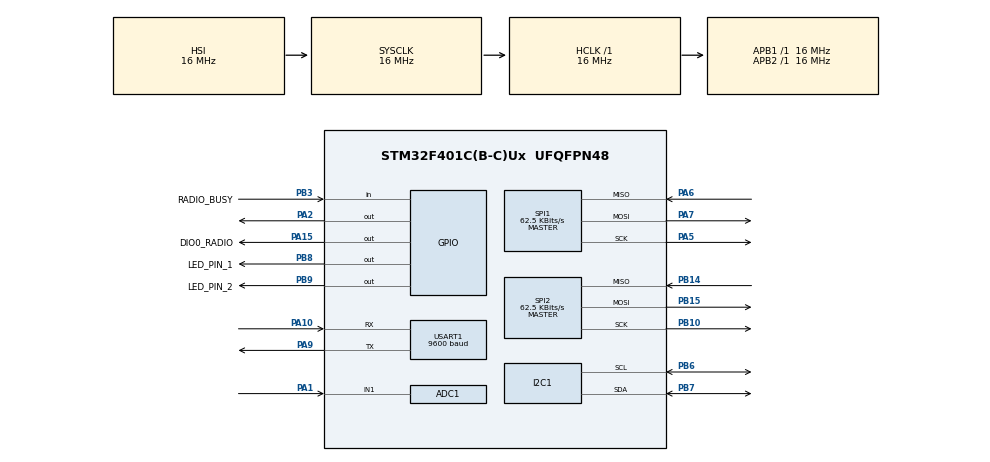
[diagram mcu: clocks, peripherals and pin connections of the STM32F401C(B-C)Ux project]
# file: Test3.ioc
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ADC1.Channel-0\#ChannelRegularConversion=ADC_CHANNEL_1
ADC1.NbrOfConversionFlag=1
ADC1.Rank-0\#ChannelRegularConversion=1
ADC1.SamplingTime-0\#ChannelRegularConversion=ADC_SAMPLETIME_3CYCLES
ADC1.master=1
Mcu.Family=STM32F4
Mcu.Name=STM32F401C(B-C)Ux
Mcu.Package=UFQFPN48
NVIC.PriorityGroup=NVIC_PRIORITYGROUP_4
PA1.Signal=ADCx_IN1
PA10.Mode=Asynchronous
PA10.Signal=USART1_RX
PA15.GPIO_Label=DIO0_RADIO
PA15.Signal=GPIO_Output
PA2.GPIO_ModeDefaultOutputPP=GPIO_MODE_OUTPUT_OD
PA2.GPIO_PuPd=GPIO_NOPULL
PA2.PinState=GPIO_PIN_SET
PA2.Signal=GPIO_Output
PA5.Mode=Full_Duplex_Master
PA5.Signal=SPI1_SCK
PA6.Mode=Full_Duplex_Master
PA6.Signal=SPI1_MISO
PA7.Mode=Full_Duplex_Master
PA7.Signal=SPI1_MOSI
PA9.Mode=Asynchronous
PA9.Signal=USART1_TX
PB10.Mode=Full_Duplex_Master
PB10.Signal=SPI2_SCK
PB14.Mode=Full_Duplex_Master
PB14.Signal=SPI2_MISO
PB15.Mode=Full_Duplex_Master
PB15.Signal=SPI2_MOSI
PB3.GPIO_Label=RADIO_BUSY
PB3.Signal=GPIO_Input
PB6.Mode=I2C
PB6.Signal=I2C1_SCL
PB7.Mode=I2C
PB7.Signal=I2C1_SDA
PB8.GPIO_Label=LED_PIN_1
PB8.Signal=GPIO_Output
PB9.GPIO_Label=LED_PIN_2
PB9.Signal=GPIO_Output
PH0\ -\ OSC_IN.Mode=HSE-External-Oscillator
PH0\ -\ OSC_IN.Signal=RCC_OSC_IN
PH1\ -\ OSC_OUT.Mode=HSE-External-Oscillator
PH1\ -\ OSC_OUT.Signal=RCC_OSC_OUT
ProjectManager.HeapSize=0x400
ProjectManager.StackSize=0x800
ProjectManager.TargetToolchain=STM32CubeIDE
RCC.AHBFreq_Value=16000000
RCC.APB1Freq_Value=16000000
RCC.APB2Freq_Value=16000000
RCC.CortexFreq_Value=16000000
RCC.HSE_VALUE=25000000
RCC.HSI_VALUE=16000000
RCC.LSE_VALUE=32768
RCC.SYSCLKFreq_VALUE=16000000
RCC.VCOOutputFreq_Value=192000000
SH.ADCx_IN1.0=ADC1_IN1,IN1
SPI1.BaudRatePrescaler=SPI_BAUDRATEPRESCALER_256
SPI1.CalculateBaudRate=62.5 KBits/s
SPI1.Direction=SPI_DIRECTION_2LINES
SPI1.Mode=SPI_MODE_MASTER
SPI1.VirtualType=VM_MASTER
SPI2.BaudRatePrescaler=SPI_BAUDRATEPRESCALER_256
SPI2.CalculateBaudRate=62.5 KBits/s
SPI2.Direction=SPI_DIRECTION_2LINES
SPI2.Mode=SPI_MODE_MASTER
SPI2.VirtualType=VM_MASTER
USART1.BaudRate=9600
USART1.VirtualMode=VM_ASYNC
board=custom

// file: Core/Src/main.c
/* USER CODE BEGIN Header */
/**
  ******************************************************************************
  * @file           : main.c
  * @brief          : Main program body
  ******************************************************************************
  * @attention
  *
  * Copyright (c) 2026 STMicroelectronics.
  * All rights reserved.
  *
  * This software is licensed under terms that can be found in the LICENSE file
  * in the root directory of this software component.
  * If no LICENSE file comes with this software, it is provided AS-IS.
  *
  ******************************************************************************
  */
/* USER CODE END Header */
#include "main.h"
#include "adc.h"
#include "i2c.h"
#include "spi.h"
#include "usart.h"
#include "gpio.h"

/* USER CODE BEGIN Includes */
#include "serial_print.h"
#include "mcp23017.h"
#include "bmi088.h"
#include "lis3mdl.h"
#include "bmp388.h"
#include "lora278.h"
#include "dwt_delay.h"
#include "ds18b20.h"
#include <stdio.h>
#include <stdlib.h>
#include <string.h>
/* USER CODE END Includes */

/* USER CODE BEGIN PTD */
// Жестко упаковываем структуру пакета для бинарной передачи по радио
#pragma pack(push, 1)
typedef struct {
    uint16_t  node_id;       // Мой ID (2 байт)
    int16_t  accel_x;       // Ускорение X (2 байта)
    int16_t  accel_y;       // Ускорение Y (2 байта)
    int16_t  accel_z;       // Ускорение Z (2 байта)
    int16_t  gyro_x;        // Гироскоп X (2 байта)
    int16_t  gyro_y;        // Гироскоп Y (2 байта)
    int16_t  gyro_z;        // Гироскоп Z (2 байта)
    int16_t  mag_x;         // Магнитометр X (2 байта)
    int16_t  mag_y;         // Магнитометр Y (2 байта)
    int16_t  mag_z;         // Магнитометр Z (2 байта)
    uint8_t  pressure[3];   // Давление (3 байта)
    int16_t  temperature;   // Температура (2 байта)
    uint8_t  state_flags;   // Флаги состояния (1 байт)
    uint8_t  checksum;
} TelemetryPacket_t;
#pragma pack(pop)
// Жестко упаковываем структуру пакета для входящих команд
#pragma pack(push, 1)
typedef struct {
    uint16_t target_id;   // ID узла, которому адресована команда (0xFF - широковещательная для всех)
    uint8_t cmd_id;      // Код команды (например: 0x01 - светодиод, 0x02 - перезагрузка)
    int16_t param;       // Универсальный параметр (например, задержка или значение ШИМ)
    uint8_t  checksum;
} CommandPacket_t;
#pragma pack(pop)
/* USER CODE END PTD */

/* USER CODE BEGIN PV */
volatile bool _packetReady = false;
volatile int _pendingLength = 0;
extern ADC_HandleTypeDef hadc1;

// ID вашего устройства и статусы датчиков
uint16_t MY_NODE_ID = 0xBBB9;
bool bmi_ok = false;
bool lis_ok = false;
bool bmp_ok = false;
/* USER CODE END PV */

void SystemClock_Config(void);

/* USER CODE BEGIN 0 */
void OnLoRaPacketReceived(int packetSize) {
    _pendingLength = packetSize;
    _packetReady = true;
}
/* USER CODE END 0 */

int main(void)
{

  /* MCU Configuration--------------------------------------------------------*/

  /* Reset of all peripherals, Initializes the Flash interface and the Systick. */
  HAL_Init();

  /* Configure the system clock */
  SystemClock_Config();

  /* Initialize all configured peripherals */
  MX_GPIO_Init();
  MX_I2C1_Init();
  MX_SPI1_Init();
  MX_SPI2_Init();
  MX_USART1_UART_Init();
  MX_ADC1_Init();
  /* USER CODE BEGIN 2 */
    DWT_Init();
    HAL_GPIO_WritePin(LED_PIN_1_GPIO_Port, LED_PIN_1_Pin, 1);

    Serial_Printf(&huart1, "\r\n--- Sensors & LoRa INIT ---\r\n");

    // Инициализация расширителя MCP23017
    if (MCP23017_Init() != HAL_OK) {
        Serial_Printf(&huart1, "MCP23017 Expander NOT FOUND!\r\n");
    } else {
        Serial_Printf(&huart1, "MCP23017 OK\r\n");
    }

    // Подтягиваем все выходы CS в HIGH
    MCP23017_WriteAll(0xFFFF);

    // Инициализация BMI088
    if (BMI088_Init(&hspi1) != HAL_OK) {
        Serial_Printf(&huart1, "BMI088 init failed!\r\n");
        bmi_ok = false;
    } else {
        Serial_Printf(&huart1, "BMI088 OK. Calibrating...\r\n");
        BMI088_CalibrateGyro(&hspi1, 200);
        bmi_ok = true;
    }

    // Инициализация магнитометра LIS3MDL[cite: 3, 5]
    if (LIS3MDL_Init() != 1) {
        Serial_Printf(&huart1, "LIS3MDL init failed!\r\n");
        lis_ok = false;
    } else {
        Serial_Printf(&huart1, "LIS3MDL OK\r\n");
        lis_ok = true;
        LIS3MDL_Calibrate();
    }

    // Инициализация барометра BMP388[cite: 2, 4]
    if (BMP388_Init() != BMP388_OK) {
        Serial_Printf(&huart1, "BMP388 init failed!\r\n");
        bmp_ok = false;
    } else {
        Serial_Printf(&huart1, "BMP388 OK\r\n");
        bmp_ok = true;
    }

    // Инициализация LoRa
    LoRa_Init();
    if (!LoRa_Begin(441000000)) {
        Serial_Printf(&huart1, "LoRa init failed!\r\n");
    } else {
        LoRa_SetSpreadingFactor(7);
        LoRa_SetSignalBandwidth(125000);
        LoRa_SetCodingRate4(5);
        LoRa_EnableCrc();
        LoRa_SetSyncWord(0x12);
        LoRa_SetTxPower(20, 1);

        LoRa_OnReceive(OnLoRaPacketReceived);
        LoRa_Receive(0);
        Serial_Printf(&huart1, "LoRa Ready!\r\n");
    }

    HAL_ADC_Start(&hadc1);

    uint32_t last_telemetry_tick = HAL_GetTick();
    uint32_t counter = 0;

    uint32_t ds18b20_timer = 0;
    uint8_t ds18b20_state = 0;
    float current_temp_ds = 0.0f;
    uint16_t photo_val = 0;
    /* USER CODE END 2 */

  /* Infinite loop */
  /* USER CODE BEGIN WHILE */
    char uart_buf[200];
      char command[50];
      BMI088_Raw_t raw;
      BMI088_Physical_t phys;

      while (1)
      {
    	    // --- 1. Обработка входящих команд LoRa ---
			if (_packetReady) {
				_packetReady = false;
				// Проверяем, соответствует ли размер пакета нашей структуре команды
				if (_pendingLength == sizeof(CommandPacket_t)) {
					CommandPacket_t rx_cmd;
					uint8_t *ptr = (uint8_t*)&rx_cmd;
					int i = 0;
					// Считываем данные из FIFO буфера LoRa в структуру байт за байтом
					while (LoRa_Available() && i < sizeof(CommandPacket_t)) {
						ptr[i++] = (uint8_t)LoRa_Read();
					}
					// Проверяем, нам ли адресована эта команда (или всем сразу через 0xFF)
					if (rx_cmd.target_id == MY_NODE_ID || rx_cmd.target_id == 0xFF) {
						Serial_Printf(&huart1, "RX CMD | ID: 0x%02X, Param: %d\r\n", rx_cmd.cmd_id, rx_cmd.param);
						// Здесь в будущем можно будет добавить обработчик
						switch (rx_cmd.cmd_id) {
							case 0x01: // Пример: Управление отладочным светодиодом
								HAL_GPIO_WritePin(LED_PIN_1_GPIO_Port, LED_PIN_1_Pin, rx_cmd.param ? GPIO_PIN_SET : GPIO_PIN_RESET);
								Serial_Printf(&huart1, "Action: LED state changed to %d\r\n", rx_cmd.param);
								break;
							case 0x02: // Пример: Программная перезагрузка МК
								Serial_Printf(&huart1, "Action: System Rebooting...\r\n");
								HAL_Delay(100);
								NVIC_SystemReset();
								break;
							default:
								Serial_Printf(&huart1, "Unknown command ID!\r\n");
								break;
						}
					} else {
						Serial_Printf(&huart1, "CMD ignored (Target ID mismatch: 0x%02X)\r\n", rx_cmd.target_id);
					}
				} else {
					// Если пришел пакет другого размера (например, чужая телеметрия или мусор),
					// обязательно вычитываем буфер до конца, чтобы не застрять в прерываниях
					while (LoRa_Available()) {
						LoRa_Read();
					}
					Serial_Printf(&huart1, "RX Unknown packet size: %d bytes\r\n", _pendingLength);
				}
			}

          // --- 2. Неблокирующий опрос DS18B20 ---
          if (ds18b20_state == 0) {
              if (DS18B20_Start()) {
                  DS18B20_WriteByte(0xCC);
                  DS18B20_WriteByte(0x44);
                  ds18b20_timer = HAL_GetTick();
                  ds18b20_state = 1;
              }
          }
          else if (ds18b20_state == 1) {
              if (HAL_GetTick() - ds18b20_timer >= 750) {
                  if (DS18B20_Start()) {
                      DS18B20_WriteByte(0xCC);
                      DS18B20_WriteByte(0xBE);

                      uint8_t temp_lsb = DS18B20_ReadByte();
                      uint8_t temp_msb = DS18B20_ReadByte();

                      int16_t temp_raw = (temp_msb << 8) | temp_lsb;
                      current_temp_ds = temp_raw / 16.0f;
                  }
                  ds18b20_state = 0;
              }
          }

          // --- 3. Сбор и отправка телеметрии ---
          if (HAL_GetTick() - last_telemetry_tick >= 1000) {
			last_telemetry_tick = HAL_GetTick();
			counter++;

			TelemetryPacket_t pkt;
			memset(&pkt, 0, sizeof(pkt)); // Очистка памяти перед заполнением
			pkt.node_id = MY_NODE_ID;
			pkt.state_flags = 0; // Изначально все флаги сброшены (0)

			// Опрос фоторезистора (опционально, если нужно будет добавить в пакет позже)
			HAL_ADC_Start(&hadc1);
			if (HAL_ADC_PollForConversion(&hadc1, 10) == HAL_OK) {
				photo_val = HAL_ADC_GetValue(&hadc1);
			}

			// 1. Ускорение и Гироскоп (BMI088)
			if (bmi_ok && (BMI088_ReadRaw(&hspi1, &raw) == HAL_OK)) {
				BMI088_ToPhysical(&raw, &phys);
				pkt.accel_x = (int16_t)(phys.Accel_X * 100);
				pkt.accel_y = (int16_t)(phys.Accel_Y * 100);
				pkt.accel_z = (int16_t)(phys.Accel_Z * 100);
				pkt.gyro_x  = (int16_t)(phys.Gyro_X * 100);
				pkt.gyro_y  = (int16_t)(phys.Gyro_Y * 100);
				pkt.gyro_z  = (int16_t)(phys.Gyro_Z * 100);
				pkt.state_flags |= (1 << 0); // Устанавливаем нулевой бит флага (BMI088 OK)
			} else {
				pkt.accel_x = INT16_MAX; pkt.accel_y = INT16_MAX; pkt.accel_z = INT16_MAX;
				pkt.gyro_x  = INT16_MAX; pkt.gyro_y  = INT16_MAX; pkt.gyro_z  = INT16_MAX;
			}

			// 2. Магнитометр (LIS3MDL)
			if (lis_ok) {
				// Функция LIS3MDL_Read_Mag напрямую записывает данные в формате int16_t[cite: 3, 5]
				LIS3MDL_Read_Mag(&pkt.mag_x, &pkt.mag_y, &pkt.mag_z);
				pkt.state_flags |= (1 << 1); // Устанавливаем первый бит флага (LIS3MDL OK)
			} else {
				pkt.mag_x = INT16_MAX; pkt.mag_y = INT16_MAX; pkt.mag_z = INT16_MAX;
			}

			// 3. Давление и Температура (BMP388)
			if (bmp_ok) {
				float bmp_temp, bmp_press;
				// Функция BMP388_Read принимает указатели на float для температуры и давления[cite: 2, 4]
				if (BMP388_Read(&bmp_temp, &bmp_press) == BMP388_OK) {

					// Умножаем давление на 100 (чтобы не терять точность) и разбираем на 3 байта
					uint32_t press_int = (uint32_t)(bmp_press * 100);
					pkt.pressure[0] = (press_int >> 16) & 0xFF; // Старший байт
					pkt.pressure[1] = (press_int >> 8) & 0xFF;  // Средний байт
					pkt.pressure[2] = press_int & 0xFF;         // Младший байт

					// Температура с барометра
					pkt.temperature = (int16_t)(bmp_temp * 100);
					pkt.state_flags |= (1 << 2); // Устанавливаем второй бит флага (BMP388 OK)
				}
			} else {
				// Если не работает, ставим максимальные значения
				pkt.pressure[0] = 0xFF; pkt.pressure[1] = 0xFF; pkt.pressure[2] = 0xFF;
				pkt.temperature = INT16_MAX;
			}

			// 4. Приоритетная Температура (DS18B20)
			// Если внешний датчик выдал адекватную температуру, перезаписываем показания с барометра
			if (current_temp_ds != 0.0f) {
				pkt.temperature = (int16_t)(current_temp_ds * 100);
				pkt.state_flags |= (1 << 3); // Устанавливаем третий бит (DS18B20 OK)
			}

			// --- Расчет контрольной суммы (XOR всех байт, кроме самого поля checksum) ---
			uint8_t calc_crc = 0;
			uint8_t *ptr = (uint8_t*)&pkt;
			for (int i = 0; i < sizeof(TelemetryPacket_t) - 1; i++) {
			  calc_crc ^= ptr[i];
			}
			pkt.checksum = calc_crc; // Записываем в последний байт пакета

			// Вывод в UART для отладки
			uint32_t press_val = ((uint32_t)pkt.pressure[0] << 16) |
							   ((uint32_t)pkt.pressure[1] << 8) |
							   pkt.pressure[2];

			Serial_Printf(&huart1, "TX Node:%04X | Acc:%d.%02d,%d.%02d,%d.%02d | Gyr:%d.%02d,%d.%02d,%d.%02d | Mag:%d,%d,%d | Press:%lu.%02lu | Temp:%d.%02d | Flags:0x%02X | CRC:0x%02X\r\n",
				   pkt.node_id,
				   pkt.accel_x/100, abs(pkt.accel_x)%100,
				   pkt.accel_y/100, abs(pkt.accel_y)%100,
				   pkt.accel_z/100, abs(pkt.accel_z)%100,
				   pkt.gyro_x/100, abs(pkt.gyro_x)%100,
				   pkt.gyro_y/100, abs(pkt.gyro_y)%100,
				   pkt.gyro_z/100, abs(pkt.gyro_z)%100,
				   pkt.mag_x, pkt.mag_y, pkt.mag_z,
				   press_val/100, press_val%100,
				   pkt.temperature/100, abs(pkt.temperature)%100,
				   pkt.state_flags,
				   pkt.checksum); // Выводим CRC в консоль

			// Отправка бинарного пакета по LoRa
			LoRa_BeginPacket(0);
			LoRa_Write((uint8_t*)&pkt, sizeof(TelemetryPacket_t));
			LoRa_EndPacket(0);

			// Возврат в режим приёма
			LoRa_Receive(0);
		}
    /* USER CODE END WHILE */

  }
}

void SystemClock_Config(void)
{
  RCC_OscInitTypeDef RCC_OscInitStruct = {0};
  RCC_ClkInitTypeDef RCC_ClkInitStruct = {0};

  /** Configure the main internal regulator output voltage
  */
  __HAL_RCC_PWR_CLK_ENABLE();
  __HAL_PWR_VOLTAGESCALING_CONFIG(PWR_REGULATOR_VOLTAGE_SCALE2);

  /** Initializes the RCC Oscillators according to the specified parameters
  * in the RCC_OscInitTypeDef structure.
  */
  RCC_OscInitStruct.OscillatorType = RCC_OSCILLATORTYPE_HSI;
  RCC_OscInitStruct.HSIState = RCC_HSI_ON;
  RCC_OscInitStruct.HSICalibrationValue = RCC_HSICALIBRATION_DEFAULT;
  RCC_OscInitStruct.PLL.PLLState = RCC_PLL_NONE;
  if (HAL_RCC_OscConfig(&RCC_OscInitStruct) != HAL_OK)
  {
    Error_Handler();
  }

  /** Initializes the CPU, AHB and APB buses clocks
  */
  RCC_ClkInitStruct.ClockType = RCC_CLOCKTYPE_HCLK|RCC_CLOCKTYPE_SYSCLK
                              |RCC_CLOCKTYPE_PCLK1|RCC_CLOCKTYPE_PCLK2;
  RCC_ClkInitStruct.SYSCLKSource = RCC_SYSCLKSOURCE_HSI;
  RCC_ClkInitStruct.AHBCLKDivider = RCC_SYSCLK_DIV1;
  RCC_ClkInitStruct.APB1CLKDivider = RCC_HCLK_DIV1;
  RCC_ClkInitStruct.APB2CLKDivider = RCC_HCLK_DIV1;

  if (HAL_RCC_ClockConfig(&RCC_ClkInitStruct, FLASH_LATENCY_0) != HAL_OK)
  {
    Error_Handler();
  }
}

void Error_Handler(void)
{
  __disable_irq();
  while (1)
  {
  }
}
